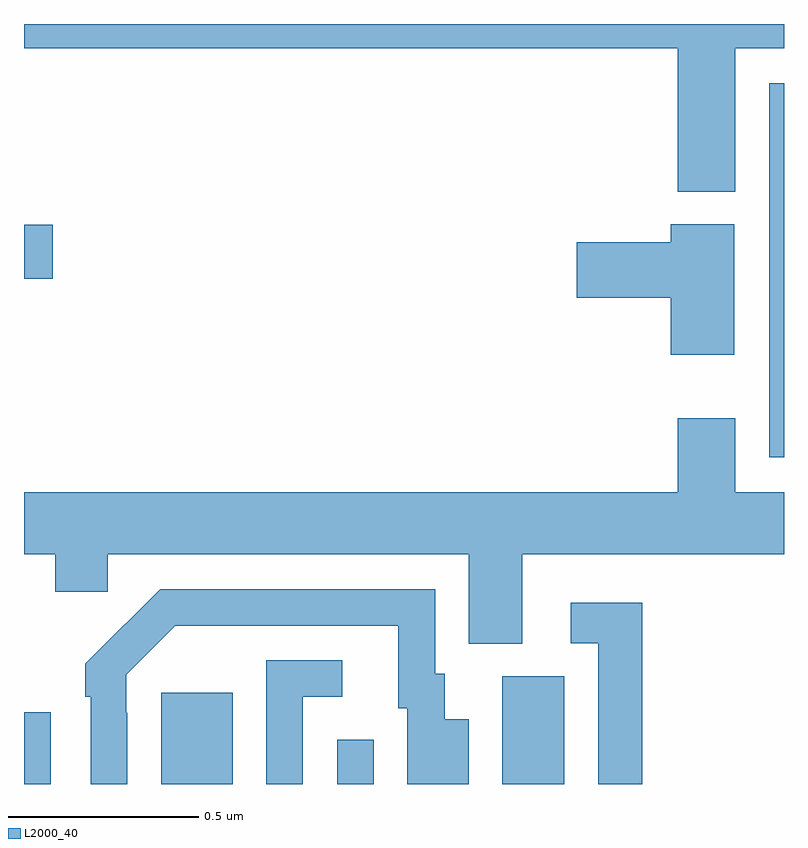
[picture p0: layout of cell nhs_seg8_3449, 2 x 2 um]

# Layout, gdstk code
import gdstk
lib = gdstk.Library(unit=1e-6, precision=1e-09)
def R(c, l, rs):  # rectangles x0, y0, x1, y1
    for r in rs: c.add(gdstk.rectangle(r[:2], r[2:], *l))
def P(c, l, *ps):  # polygons
    for p in ps: c.add(gdstk.Polygon(p, *l))
L2000_40 = (2000, 40)

nhs_seg8_3449 = lib.new_cell('nhs_seg8_3449')
R(nhs_seg8_3449, L2000_40, [(157,1111.9,157.071,1112.089), (157.361,1111.9,157.549,1112.14), (157.824,1111.9,157.92,1112.017), (158.258,1111.9,158.422,1112.184), (158.961,1112.76,159,1113.744), (157,1113.23,157.075,1113.372)])
P(nhs_seg8_3449, L2000_40, [(158.872,1113.836),(159,1113.836),(159,1113.9),(157,1113.9),(157,1113.836),(158.72,1113.836),(158.72,1113.458),(158.872,1113.458)],
  [(158.869,1113.373),(158.702,1113.373),(158.702,1113.326),(158.454,1113.326),(158.454,1113.179),(158.702,1113.179),(158.702,1113.03),(158.869,1113.03)],
  [(158.311,1112.504),(159,1112.504),(159,1112.668),(158.872,1112.668),(158.872,1112.863),(158.72,1112.863),(158.72,1112.668),(157,1112.668),(157,1112.504),(157.082,1112.504),(157.082,1112.406),(157.221,1112.406),(157.221,1112.504),(158.171,1112.504),(158.171,1112.269),(158.311,1112.269)],
  [(157.272,1112.087),(157.269,1112.087),(157.269,1112.187),(157.398,1112.316),(157.985,1112.316),(157.985,1112.1),(158.009,1112.1),(158.009,1111.9),(158.17,1111.9),(158.17,1112.071),(158.107,1112.071),(158.107,1112.19),(158.082,1112.19),(158.082,1112.412),(157.358,1112.412),(157.267,1112.321),(157.266,1112.322),(157.161,1112.217),(157.161,1112.129),(157.176,1112.129),(157.176,1111.9),(157.272,1111.9)],
  [(158.627,1112.377),(158.439,1112.377),(158.439,1112.271),(158.511,1112.271),(158.511,1111.9),(158.627,1111.9)],
  [(157.734,1112.13),(157.837,1112.13),(157.837,1112.226),(157.638,1112.226),(157.638,1111.9),(157.734,1111.9)])

lib.write_gds('nhs_seg8_3449.gds')
